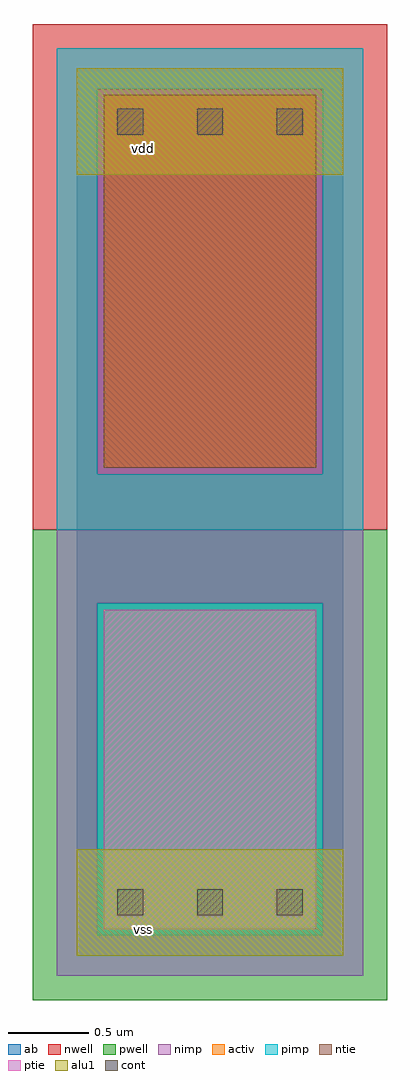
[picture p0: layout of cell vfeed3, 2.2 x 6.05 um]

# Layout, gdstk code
import gdstk
lib = gdstk.Library(unit=1e-6, precision=2.5e-09)
def R(c, l, rs):  # rectangles x0, y0, x1, y1
    for r in rs: c.add(gdstk.rectangle(r[:2], r[2:], *l))
def A(c, l, x, y, w, h, nx, ny, dx, dy):  # array of equal rectangles
    R(c, l, [(x+i*dx, y+j*dy, x+i*dx+w, y+j*dy+h) for i in range(nx) for j in range(ny)])
ntie = (5, 0)
ptie = (6, 0)
cont = (25, 0)
pwell = (41, 0)
nwell = (42, 0)
activ = (43, 0)
pimp = (44, 0)
nimp = (45, 0)
alu1 = (49, 0)
ab = (63, 0)

vfeed3 = lib.new_cell('vfeed3')
R(vfeed3, ntie, [(0.165,3.025,1.485,5.335)])
R(vfeed3, ptie, [(0.165,0.165,1.485,2.145)])
A(vfeed3, cont, 0.25, 0.25, 0.16, 0.16, 3, 2, 0.495, 4.84)
R(vfeed3, pwell, [(-0.275,-0.275,1.925,2.64)])
R(vfeed3, nwell, [(-0.275,2.64,1.925,5.775)])
R(vfeed3, activ, [(0.165,0.165,1.485,2.145), (0.165,3.025,1.485,5.335)])
R(vfeed3, pimp, [(0.125,0.125,1.525,2.185), (-0.125,2.64,1.775,2.985), (-0.125,2.985,0.125,5.375), (1.525,2.985,1.775,5.375), (-0.125,5.375,1.775,5.625)])
R(vfeed3, nimp, [(-0.125,-0.125,1.775,0.125), (-0.125,0.125,0.125,2.185), (1.525,0.125,1.775,2.185), (-0.125,2.185,1.775,2.64), (0.125,2.985,1.525,5.375)])
R(vfeed3, alu1, [(0,0,1.65,0.66), (0,4.84,1.65,5.5)])
R(vfeed3, ab, [(0,0,1.65,5.5)])
vfeed3.add(gdstk.Label('vss', (0.4125,0.165), layer=49, texttype=0))
vfeed3.add(gdstk.Label('vdd', (0.4125,5.005), layer=49, texttype=0))

lib.write_gds('vfeed3.gds')
